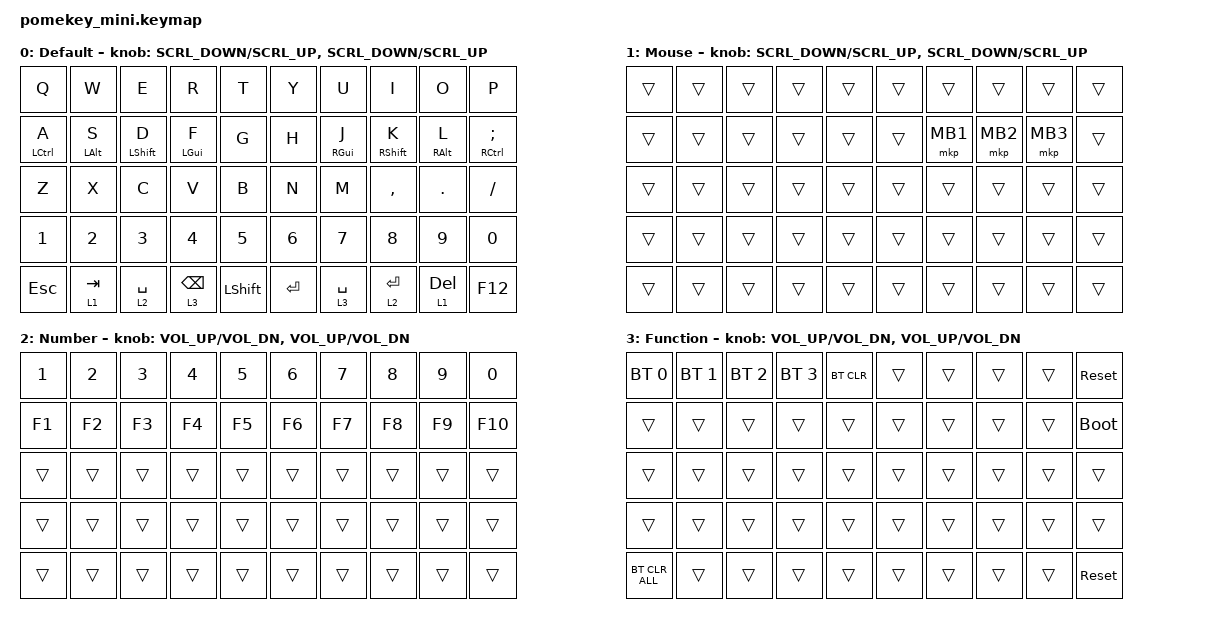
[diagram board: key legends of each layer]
#define ZMK_POINTING_DEFAULT_SCRL_VAL 100

#include <behaviors.dtsi>
#include <dt-bindings/zmk/bt.h>
#include <dt-bindings/zmk/keys.h>
#include <dt-bindings/zmk/pointing.h>

&mt {
    tapping-term-ms = <200>;
    flavor = "tap-preferred";
};

/ {
    behaviors {
        encoder_msc: sensor_rotate_msc {
            compatible = "zmk,behavior-sensor-rotate-var";
            #sensor-binding-cells = <2>;
            bindings = <&msc>, <&msc>;
            tap-ms = <20>;
        };

        encoder_kp: sensor_rotate_kp {
            compatible = "zmk,behavior-sensor-rotate-var";
            #sensor-binding-cells = <2>;
            bindings = <&kp>, <&kp>;
        };
    };

    keymap {
        compatible = "zmk,keymap";

        default_layer {
            display-name = "Default";
            bindings = <
                &kp Q            &kp W            &kp E            &kp R            &kp T                      &kp Y            &kp U            &kp I            &kp O            &kp P
                &mt LCTRL A      &mt LALT S       &mt LSHIFT D     &mt LGUI F       &kp G                      &kp H            &mt RGUI J       &mt RSHIFT K     &mt RALT L       &mt RCTRL SEMI
                &kp Z            &kp X            &kp C            &kp V            &kp B                      &kp N            &kp M            &kp COMMA        &kp DOT          &kp SLASH
                &kp N1           &kp N2           &kp N3           &kp N4           &kp N5                     &kp N6           &kp N7           &kp N8           &kp N9           &kp N0
                &kp ESC          &lt 1 TAB        &lt 2 SPACE      &lt 3 BACKSPACE  &kp LSHIFT                 &kp ENTER        &lt 3 SPACE      &lt 2 ENTER      &lt 1 DELETE     &kp F12
            >;
            sensor-bindings = <&encoder_msc SCRL_DOWN SCRL_UP &encoder_msc SCRL_DOWN SCRL_UP>;
        };

        mouse_layer {
            display-name = "Mouse";
            bindings = <
                &trans           &trans           &trans           &trans           &trans                     &trans           &trans           &trans           &trans           &trans
                &trans           &trans           &trans           &trans           &trans                     &trans           &mkp MB1         &mkp MB2         &mkp MB3         &trans
                &trans           &trans           &trans           &trans           &trans                     &trans           &trans           &trans           &trans           &trans
                &trans           &trans           &trans           &trans           &trans                     &trans           &trans           &trans           &trans           &trans
                &trans           &trans           &trans           &trans           &trans                     &trans           &trans           &trans           &trans           &trans
            >;
            sensor-bindings = <&encoder_msc SCRL_DOWN SCRL_UP &encoder_msc SCRL_DOWN SCRL_UP>;
        };

        number_layer {
            display-name = "Number";
            bindings = <
                &kp N1           &kp N2           &kp N3           &kp N4           &kp N5                     &kp N6           &kp N7           &kp N8           &kp N9           &kp N0
                &kp F1           &kp F2           &kp F3           &kp F4           &kp F5                     &kp F6           &kp F7           &kp F8           &kp F9           &kp F10
                &trans           &trans           &trans           &trans           &trans                     &trans           &trans           &trans           &trans           &trans
                &trans           &trans           &trans           &trans           &trans                     &trans           &trans           &trans           &trans           &trans
                &trans           &trans           &trans           &trans           &trans                     &trans           &trans           &trans           &trans           &trans
            >;
            sensor-bindings = <&encoder_kp C_VOL_UP C_VOL_DN &encoder_kp C_VOL_UP C_VOL_DN>;
        };

        function_layer {
            display-name = "Function";
            bindings = <
                &bt BT_SEL 0     &bt BT_SEL 1     &bt BT_SEL 2     &bt BT_SEL 3     &bt BT_CLR                 &trans           &trans           &trans           &trans           &sys_reset
                &trans           &trans           &trans           &trans           &trans                     &trans           &trans           &trans           &trans           &bootloader
                &trans           &trans           &trans           &trans           &trans                     &trans           &trans           &trans           &trans           &trans
                &trans           &trans           &trans           &trans           &trans                     &trans           &trans           &trans           &trans           &trans
                &bt BT_CLR_ALL   &trans           &trans           &trans           &trans                     &trans           &trans           &trans           &trans           &sys_reset
            >;
            sensor-bindings = <&inc_dec_kp C_VOL_UP C_VOL_DN &inc_dec_kp C_VOL_UP C_VOL_DN>;
        };
    };
};
